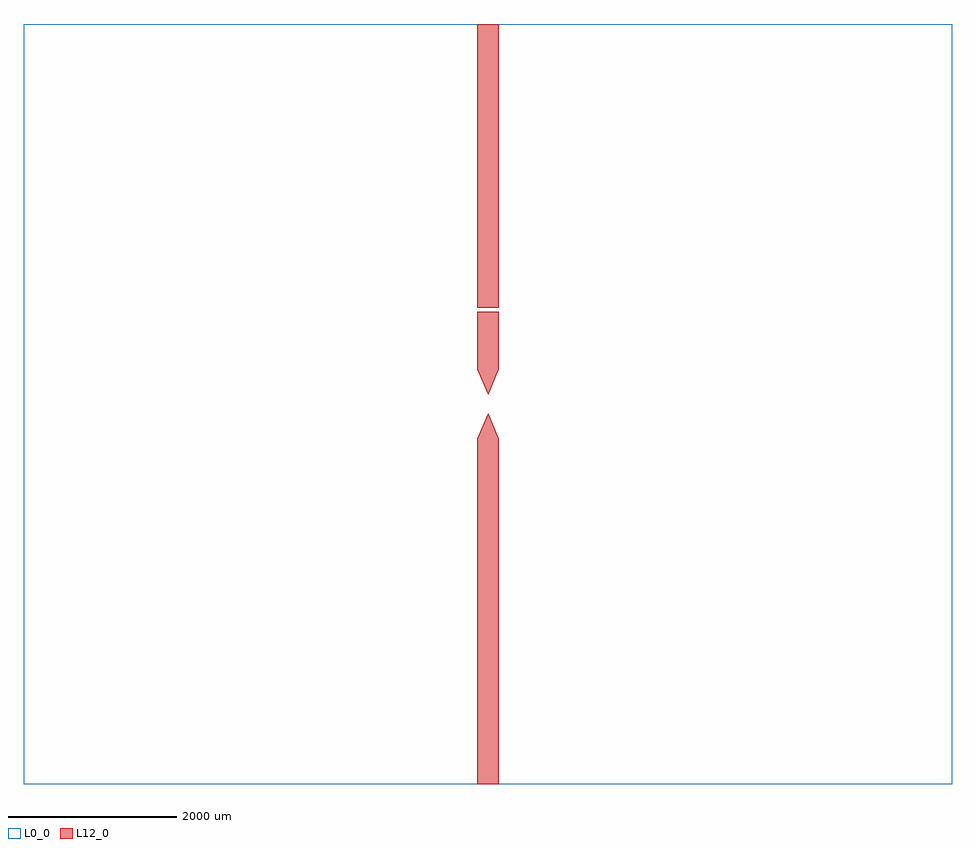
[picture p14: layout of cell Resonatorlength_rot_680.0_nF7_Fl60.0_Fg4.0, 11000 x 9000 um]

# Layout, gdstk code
import gdstk
lib = gdstk.Library(unit=1e-6, precision=1e-09)
def R(c, l, rs):  # rectangles x0, y0, x1, y1
    for r in rs: c.add(gdstk.rectangle(r[:2], r[2:], *l))
def P(c, l, *ps):  # polygons
    for p in ps: c.add(gdstk.Polygon(p, *l))
L0_0 = (0, 0)
L12_0 = (12, 0)

resonatorlength_rot_680_ = lib.new_cell('Resonatorlength_rot_680.0_nF7_Fl60.0_Fg4.0')
R(resonatorlength_rot_680_, L0_0, [(-5500,-4500,5500,4500)])
R(resonatorlength_rot_680_, L12_0, [(-125,-4500,125,-1156), (-125,-1156,-92.714,-1096), (-52.429,-1156,-20.143,-1096), (20.143,-1156,52.429,-1096), (92.714,-1156,125,-1096), (-88.714,-1152,-56.429,-1092), (-16.143,-1152,16.143,-1092), (56.429,-1152,88.714,-1092), (-125,-1092,125,-412), (-125,412,125,1092), (-125,1142,125,4500)])
P(resonatorlength_rot_680_, L12_0, [(-125,-412),(125,-412),(0,-108.5)],
  [(-125,412),(125,412),(0,108.5)])

lib.write_gds('Resonatorlength_rot_680.0_nF7_Fl60.0_Fg4.0.gds')
